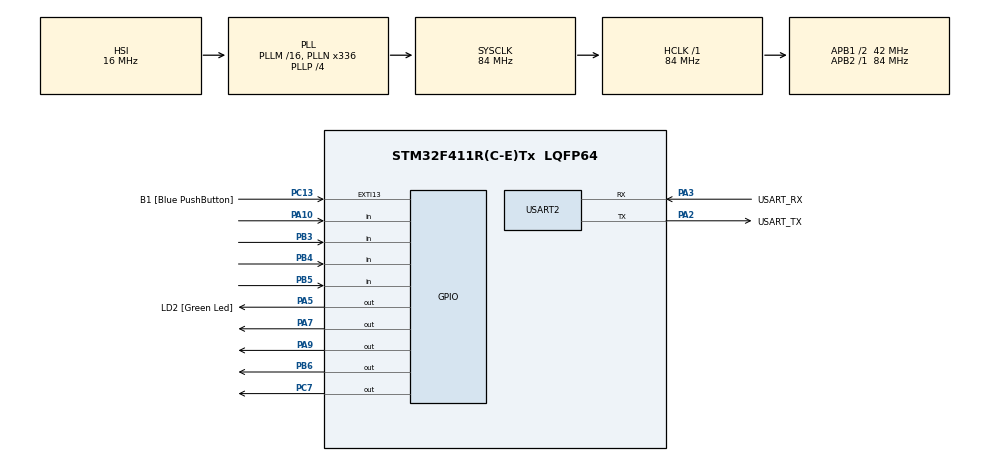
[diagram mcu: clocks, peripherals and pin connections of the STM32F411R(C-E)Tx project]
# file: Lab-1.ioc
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Mcu.Family=STM32F4
Mcu.Name=STM32F411R(C-E)Tx
Mcu.Package=LQFP64
NVIC.PriorityGroup=NVIC_PRIORITYGROUP_0
PA10.Signal=GPIO_Input
PA13.GPIO_Label=TMS
PA13.Mode=Serial_Wire
PA13.Signal=SYS_JTMS-SWDIO
PA14.GPIO_Label=TCK
PA14.Mode=Serial_Wire
PA14.Signal=SYS_JTCK-SWCLK
PA2.GPIO_Label=USART_TX
PA2.Mode=Asynchronous
PA2.Signal=USART2_TX
PA3.GPIO_Label=USART_RX
PA3.Mode=Asynchronous
PA3.Signal=USART2_RX
PA5.GPIO_Label=LD2 [Green Led]
PA5.Signal=GPIO_Output
PA7.Signal=GPIO_Output
PA9.Signal=GPIO_Output
PB3.Signal=GPIO_Input
PB4.Signal=GPIO_Input
PB5.Signal=GPIO_Input
PB6.Signal=GPIO_Output
PC13-ANTI_TAMP.GPIO_Label=B1 [Blue PushButton]
PC13-ANTI_TAMP.GPIO_ModeDefaultEXTI=GPIO_MODE_IT_FALLING
PC13-ANTI_TAMP.Signal=GPXTI13
PC14-OSC32_IN.Mode=LSE-External-Oscillator
PC14-OSC32_IN.Signal=RCC_OSC32_IN
PC15-OSC32_OUT.Mode=LSE-External-Oscillator
PC15-OSC32_OUT.Signal=RCC_OSC32_OUT
PC7.Signal=GPIO_Output
PH0\ -\ OSC_IN.Mode=HSE-External-Clock-Source
PH0\ -\ OSC_IN.Signal=RCC_OSC_IN
PH1\ -\ OSC_OUT.Mode=HSE-External-Clock-Source
PH1\ -\ OSC_OUT.Signal=RCC_OSC_OUT
ProjectManager.HeapSize=0x200
ProjectManager.StackSize=0x400
ProjectManager.TargetToolchain=STM32CubeIDE
RCC.48MHZClocksFreq_Value=84000000
RCC.AHBFreq_Value=84000000
RCC.APB1CLKDivider=RCC_HCLK_DIV2
RCC.APB1Freq_Value=42000000
RCC.APB1TimFreq_Value=84000000
RCC.APB2Freq_Value=84000000
RCC.APB2TimFreq_Value=84000000
RCC.CortexFreq_Value=84000000
RCC.FLatency-AdvancedSettings=FLASH_LATENCY_2
RCC.HCLKFreq_Value=84000000
RCC.HSE_VALUE=8000000
RCC.HSI_VALUE=16000000
RCC.PLLN=336
RCC.PLLP=RCC_PLLP_DIV4
RCC.SYSCLKFreq_VALUE=84000000
RCC.SYSCLKSource=RCC_SYSCLKSOURCE_PLLCLK
RCC.VCOOutputFreq_Value=336000000
USART2.VirtualMode=VM_ASYNC
board=NUCLEO-F411RE

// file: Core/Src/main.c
/* USER CODE BEGIN Header */
/**
  ******************************************************************************
  * @file           : main.c
  * @brief          : Main program body
  ******************************************************************************
  * @attention
  *
  * <h2><center>&copy; Copyright (c) 2021 STMicroelectronics.
  * All rights reserved.</center></h2>
  *
  * This software component is licensed by ST under BSD 3-Clause license,
  * the "License"; You may not use this file except in compliance with the
  * License. You may obtain a copy of the License at:
  *                        opensource.org/licenses/BSD-3-Clause
  *
  ******************************************************************************
  */
/* USER CODE END Header */
#include "main.h"

UART_HandleTypeDef huart2;

void SystemClock_Config(void);
static void MX_GPIO_Init(void);
static void MX_USART2_UART_Init(void);

int main(void)
{

  /* MCU Configuration--------------------------------------------------------*/

  /* Reset of all peripherals, Initializes the Flash interface and the Systick. */
  HAL_Init();

  /* Configure the system clock */
  SystemClock_Config();

  /* Initialize all configured peripherals */
  MX_GPIO_Init();
  MX_USART2_UART_Init();
  /* USER CODE BEGIN 2 */
  //----------------------------------------------------------------

	  GPIO_PinState Switch_1_State[2]; 		//Now  Previous
	  GPIO_PinState Switch_2_State[2];
	  GPIO_PinState Switch_3_State[2];
	  uint16_t LED1_Half_Period = 1000; 	// 0.5 Hz
	  uint32_t TimeStamp = 0;
	  uint32_t ButtonTimeStamp = 0;
	  uint8_t  Switch_2_isPressed = 0;
	  uint8_t  LED3_Mode = 1;
	  uint16_t LED3_First_Half  = 1500;
	  uint16_t LED3_Second_Half = 500;
	  uint32_t LED3_TimeStamp = 0;

  //---------------------------------------------------------------
  /* USER CODE END 2 */

  /* Infinite loop */
  /* USER CODE BEGIN WHILE */
  //---------------------------------------------------------------

  while (1)
  {
	  //********** SWITCH **********
	  if(HAL_GetTick() - ButtonTimeStamp >= 100)
	  {
		  ButtonTimeStamp = HAL_GetTick();
		  Switch_1_State[0] = HAL_GPIO_ReadPin(GPIOA, GPIO_PIN_10); // Press = Low , No = High
		  if(Switch_1_State[0] == GPIO_PIN_SET && Switch_1_State[1] == GPIO_PIN_RESET) // SET = high , RESET = low
		  {
			  switch(LED1_Half_Period)
			  {
				  case(1000):
					  LED1_Half_Period = 500; //0.5 Hz -> 1 Hz
					  break;
				  case(500):
					  LED1_Half_Period = 250; //1 Hz -> 2 Hz
					  break;
				  case(250):
					  LED1_Half_Period = 167; //2 Hz -> 3 Hz
					  break;
				  default:
					  LED1_Half_Period = 1000; //3 Hz -> 0.5 Hz
					  break;
			  }
		  }
		  Switch_1_State[1] = Switch_1_State[0];

		  Switch_2_State[0] = HAL_GPIO_ReadPin(GPIOB, GPIO_PIN_3);
		  if(Switch_2_State[0] == GPIO_PIN_SET && Switch_2_State[1] == GPIO_PIN_RESET)
		  {
			  Switch_2_isPressed = 1;
		  }
		  Switch_2_State[1] = Switch_2_State[0];

		  Switch_3_State[0] = HAL_GPIO_ReadPin(GPIOB, GPIO_PIN_5);
		  if(Switch_3_State[0] == GPIO_PIN_SET && Switch_3_State[1] == GPIO_PIN_RESET)
		  {
			  switch(LED3_Mode)
			  {
				  case(1):
					  LED3_First_Half  = 500;
					  LED3_Second_Half = 1500;
					  LED3_Mode        = 2;
					  break;

				  default:
					  LED3_First_Half  = 1500;
					  LED3_Second_Half = 500;
					  LED3_Mode        = 1;
					  break;
			  }
		  }
		  Switch_3_State[1] = Switch_3_State[0];
	  }

	  ////********** LED **********
	  if(HAL_GetTick() - TimeStamp >= LED1_Half_Period) //millisecond now time
	  {
		  TimeStamp = HAL_GetTick();
		  if(HAL_GPIO_ReadPin(GPIOA, GPIO_PIN_9) == GPIO_PIN_SET)  // SET = Light OFF   RESET = Light ON
		  {
			  HAL_GPIO_WritePin(GPIOA, GPIO_PIN_9, GPIO_PIN_RESET);
		  }
		  else
		  {
			  HAL_GPIO_WritePin(GPIOA, GPIO_PIN_9, GPIO_PIN_SET);
		  }
	  }

	  if(Switch_2_isPressed == 1)
	  {
		  if(HAL_GPIO_ReadPin(GPIOC, GPIO_PIN_7) == GPIO_PIN_SET)
		  {
			  HAL_GPIO_WritePin(GPIOC, GPIO_PIN_7, GPIO_PIN_RESET);
		  }
		  else
		  {
			  HAL_GPIO_WritePin(GPIOC, GPIO_PIN_7, GPIO_PIN_SET);
		  }
		  Switch_2_isPressed = 0;
	  }

	  if(HAL_GPIO_ReadPin(GPIOB, GPIO_PIN_6) == GPIO_PIN_RESET)
	  {
		  if(HAL_GetTick() - LED3_TimeStamp >= LED3_First_Half)
		  {
			  LED3_TimeStamp = HAL_GetTick();
			  HAL_GPIO_WritePin(GPIOB, GPIO_PIN_6, GPIO_PIN_SET);
		  }

	  }

	  if(HAL_GPIO_ReadPin(GPIOB, GPIO_PIN_6) == GPIO_PIN_SET)
	  {
		  if(HAL_GetTick() - LED3_TimeStamp >= LED3_Second_Half)
		  {
			  LED3_TimeStamp = HAL_GetTick();
			  HAL_GPIO_WritePin(GPIOB, GPIO_PIN_6, GPIO_PIN_RESET);
		  }

	  }

	 //---------------------------------------------------------------
    /* USER CODE END WHILE */

  }
}

void SystemClock_Config(void)
{
  RCC_OscInitTypeDef RCC_OscInitStruct = {0};
  RCC_ClkInitTypeDef RCC_ClkInitStruct = {0};

  /** Configure the main internal regulator output voltage
  */
  __HAL_RCC_PWR_CLK_ENABLE();
  __HAL_PWR_VOLTAGESCALING_CONFIG(PWR_REGULATOR_VOLTAGE_SCALE1);
  /** Initializes the RCC Oscillators according to the specified parameters
  * in the RCC_OscInitTypeDef structure.
  */
  RCC_OscInitStruct.OscillatorType = RCC_OSCILLATORTYPE_HSI;
  RCC_OscInitStruct.HSIState = RCC_HSI_ON;
  RCC_OscInitStruct.HSICalibrationValue = RCC_HSICALIBRATION_DEFAULT;
  RCC_OscInitStruct.PLL.PLLState = RCC_PLL_ON;
  RCC_OscInitStruct.PLL.PLLSource = RCC_PLLSOURCE_HSI;
  RCC_OscInitStruct.PLL.PLLM = 16;
  RCC_OscInitStruct.PLL.PLLN = 336;
  RCC_OscInitStruct.PLL.PLLP = RCC_PLLP_DIV4;
  RCC_OscInitStruct.PLL.PLLQ = 4;
  if (HAL_RCC_OscConfig(&RCC_OscInitStruct) != HAL_OK)
  {
    Error_Handler();
  }
  /** Initializes the CPU, AHB and APB buses clocks
  */
  RCC_ClkInitStruct.ClockType = RCC_CLOCKTYPE_HCLK|RCC_CLOCKTYPE_SYSCLK
                              |RCC_CLOCKTYPE_PCLK1|RCC_CLOCKTYPE_PCLK2;
  RCC_ClkInitStruct.SYSCLKSource = RCC_SYSCLKSOURCE_PLLCLK;
  RCC_ClkInitStruct.AHBCLKDivider = RCC_SYSCLK_DIV1;
  RCC_ClkInitStruct.APB1CLKDivider = RCC_HCLK_DIV2;
  RCC_ClkInitStruct.APB2CLKDivider = RCC_HCLK_DIV1;

  if (HAL_RCC_ClockConfig(&RCC_ClkInitStruct, FLASH_LATENCY_2) != HAL_OK)
  {
    Error_Handler();
  }
}

static void MX_USART2_UART_Init(void)
{

  huart2.Instance = USART2;
  huart2.Init.BaudRate = 115200;
  huart2.Init.WordLength = UART_WORDLENGTH_8B;
  huart2.Init.StopBits = UART_STOPBITS_1;
  huart2.Init.Parity = UART_PARITY_NONE;
  huart2.Init.Mode = UART_MODE_TX_RX;
  huart2.Init.HwFlowCtl = UART_HWCONTROL_NONE;
  huart2.Init.OverSampling = UART_OVERSAMPLING_16;
  if (HAL_UART_Init(&huart2) != HAL_OK)
  {
    Error_Handler();
  }

}

static void MX_GPIO_Init(void)
{
  GPIO_InitTypeDef GPIO_InitStruct = {0};

  /* GPIO Ports Clock Enable */
  __HAL_RCC_GPIOC_CLK_ENABLE();
  __HAL_RCC_GPIOH_CLK_ENABLE();
  __HAL_RCC_GPIOA_CLK_ENABLE();
  __HAL_RCC_GPIOB_CLK_ENABLE();

  /*Configure GPIO pin Output Level */
  HAL_GPIO_WritePin(GPIOA, LD2_Pin|GPIO_PIN_7|GPIO_PIN_9, GPIO_PIN_RESET);

  /*Configure GPIO pin Output Level */
  HAL_GPIO_WritePin(GPIOC, GPIO_PIN_7, GPIO_PIN_RESET);

  /*Configure GPIO pin Output Level */
  HAL_GPIO_WritePin(GPIOB, GPIO_PIN_6, GPIO_PIN_RESET);

  /*Configure GPIO pin : B1_Pin */
  GPIO_InitStruct.Pin = B1_Pin;
  GPIO_InitStruct.Mode = GPIO_MODE_IT_FALLING;
  GPIO_InitStruct.Pull = GPIO_NOPULL;
  HAL_GPIO_Init(B1_GPIO_Port, &GPIO_InitStruct);

  /*Configure GPIO pins : LD2_Pin PA7 PA9 */
  GPIO_InitStruct.Pin = LD2_Pin|GPIO_PIN_7|GPIO_PIN_9;
  GPIO_InitStruct.Mode = GPIO_MODE_OUTPUT_PP;
  GPIO_InitStruct.Pull = GPIO_NOPULL;
  GPIO_InitStruct.Speed = GPIO_SPEED_FREQ_LOW;
  HAL_GPIO_Init(GPIOA, &GPIO_InitStruct);

  /*Configure GPIO pin : PC7 */
  GPIO_InitStruct.Pin = GPIO_PIN_7;
  GPIO_InitStruct.Mode = GPIO_MODE_OUTPUT_PP;
  GPIO_InitStruct.Pull = GPIO_NOPULL;
  GPIO_InitStruct.Speed = GPIO_SPEED_FREQ_LOW;
  HAL_GPIO_Init(GPIOC, &GPIO_InitStruct);

  /*Configure GPIO pin : PA10 */
  GPIO_InitStruct.Pin = GPIO_PIN_10;
  GPIO_InitStruct.Mode = GPIO_MODE_INPUT;
  GPIO_InitStruct.Pull = GPIO_NOPULL;
  HAL_GPIO_Init(GPIOA, &GPIO_InitStruct);

  /*Configure GPIO pins : PB3 PB4 PB5 */
  GPIO_InitStruct.Pin = GPIO_PIN_3|GPIO_PIN_4|GPIO_PIN_5;
  GPIO_InitStruct.Mode = GPIO_MODE_INPUT;
  GPIO_InitStruct.Pull = GPIO_NOPULL;
  HAL_GPIO_Init(GPIOB, &GPIO_InitStruct);

  /*Configure GPIO pin : PB6 */
  GPIO_InitStruct.Pin = GPIO_PIN_6;
  GPIO_InitStruct.Mode = GPIO_MODE_OUTPUT_PP;
  GPIO_InitStruct.Pull = GPIO_NOPULL;
  GPIO_InitStruct.Speed = GPIO_SPEED_FREQ_LOW;
  HAL_GPIO_Init(GPIOB, &GPIO_InitStruct);

}

void Error_Handler(void)
{
  __disable_irq();
  while (1)
  {
  }
}

/************************ (C) COPYRIGHT STMicroelectronics *****END OF FILE****/
